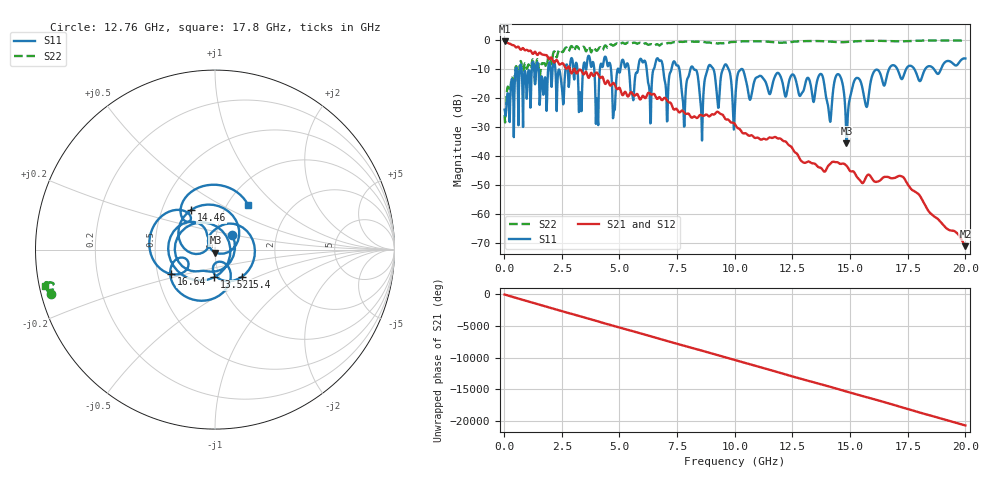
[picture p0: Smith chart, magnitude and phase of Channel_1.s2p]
! Created Sun Jun 24 21:01:06 2012
# hz S ma R 100
! 2 Port Network Data from SP1.SP block
! freq  magS11  angS11  magS21  angS21  magS12  angS12  magS22  angS22
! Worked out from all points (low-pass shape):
!   1000 points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, 20 MHz to 20 GHz, reference 100 ohm
!   highest |S21| = -0.38 dB at 20 MHz (marker M1); lowest = -71.0 dB at 20 GHz (marker M2)
!   |S21| within 3 dB of the highest: start of sweep to 883.4 MHz; 956.8 MHz to 990.3 MHz (33.47 MHz wide, 3.44 % of centre)
!   lowest |S11| = -35.6 dB at 14.84 GHz (marker M3), VSWR 1.03, Z = 100 - j3.31 ohm
!   |S11| at or under -10 dB: 8.225 GHz to 8.822 GHz (597.4 MHz wide, 7.01 % of centre); 9.732 GHz to 10.28 GHz (550.8 MHz wide, 5.5 % of centre); 10.33 GHz to 16.69 GHz (6.363 GHz wide, 47.1 % of centre)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
!   |S22| runs from -28.4 to -0.1 dB; largest |S21 - S12| = 0.0002
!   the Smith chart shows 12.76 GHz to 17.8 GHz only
!   S11 on the Smith chart (normalised r, x): 12.76 GHz: 1.19, +0.20; 13.52 GHz: 0.94, -0.30; 14.46 GHz: 0.70, +0.33; 15.4 GHz: 1.28, -0.41; 16.64 GHz: 0.59, -0.17; 17.8 GHz: 1.24, +0.68
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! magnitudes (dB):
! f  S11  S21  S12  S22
! 20 MHz  -24.0  -0.4  -0.4  -25.9
! 1.34 GHz  -15.2  -4.0  -4.0  -15.2
! 3.36 GHz  -24.5  -10.7  -10.7  -2.8
! 5.98 GHz  -7.3  -19.5  -19.5  -1.3
! 6.32 GHz  -20.6  -18.4  -18.4  -1.5
! 6.68 GHz  -6.5  -20.0  -20.0  -1.6
! 8.24 GHz  -10.2  -26.3  -26.3  -0.6
! 8.56 GHz  -27.8  -25.9  -25.9  -0.6
! 9.64 GHz  -8.6  -27.4  -27.4  -0.9
! 10.02 GHz  -20.5  -29.1  -29.1  -0.6
! 10.28 GHz  -10.0  -31.4  -31.4  -0.5
! 12.76 GHz  -18.0  -40.0  -40.0  -0.5
! 13.34 GHz  -17.8  -42.4  -42.4  -0.3
! 13.52 GHz  -16.2  -42.9  -43.0  -0.3
! 14.12 GHz  -27.6  -42.8  -42.8  -0.5
! 14.46 GHz  -11.8  -42.1  -42.2  -0.7
! 14.84 GHz  -35.6  -43.2  -43.3  -0.7
! 15.4 GHz  -13.4  -48.0  -48.1  -0.4
! 16.64 GHz  -11.0  -47.1  -47.2  -0.4
! 16.68 GHz  -10.1  -47.3  -47.3  -0.4
! 17.8 GHz  -10.2  -52.1  -52.1  -0.3
! 20 GHz  -6.3  -71.0  -71.0  -0.2
